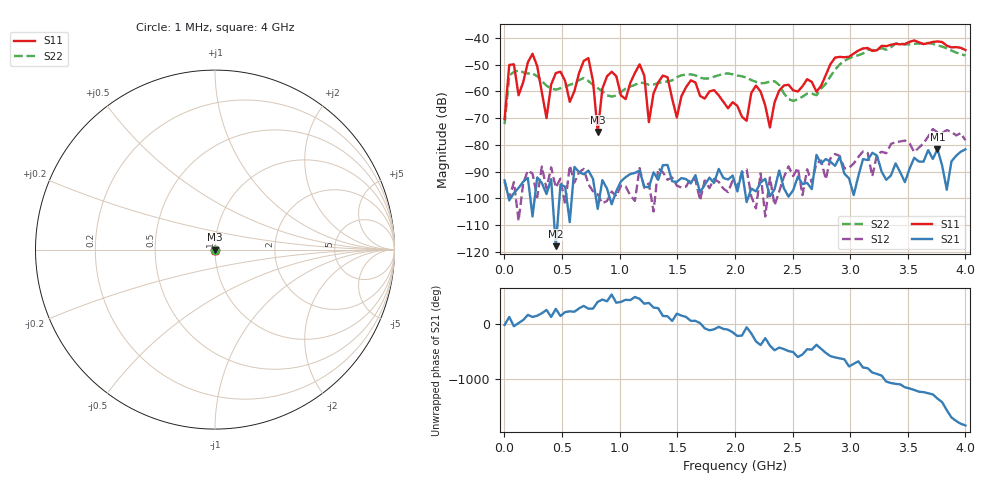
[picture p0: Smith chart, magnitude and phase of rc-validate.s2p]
!Created with skrf (http://scikit-rf.org).
# GHz S DB R 50.0
!freq dBS11 angS11 dBS21 angS21 dBS12 angS12 dBS22 angS22
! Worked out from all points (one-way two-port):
!   100 points, 1 MHz to 4 GHz, reference 50 ohm
!   highest |S21| = -81.60 dB at 3.758 GHz (marker M1); lowest = -117.9 dB at 445.3 MHz (marker M2)
!   lowest |S11| = -75.1 dB at 808.9 MHz (marker M3), VSWR 1.00, Z = 50 - j0.00127 ohm
!   |S11| at or under -10 dB: start of sweep to end of sweep
!   |S22| runs from -72.2 to -41.8 dB; largest |S21 - S12| = 0.0002
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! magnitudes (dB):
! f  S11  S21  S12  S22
! 1 MHz  -70.4  -93.3  -93.8  -72.2
! 41.39 MHz  -50.0  -100.8  -99.8  -54.0
! 122.2 MHz  -61.4  -96.1  -108.4  -52.1
! 243.4 MHz  -45.9  -106.8  -90.8  -53.2
! 364.5 MHz  -70.0  -98.4  -96.3  -57.8
! 445.3 MHz  -53.1  -117.9  -96.0  -59.3
! 566.5 MHz  -63.9  -108.9  -87.7  -57.5
! 687.7 MHz  -48.5  -91.0  -89.0  -55.0
! 808.9 MHz  -75.1  -103.9  -98.4  -58.7
! 930.1 MHz  -52.6  -102.2  -97.4  -61.9
! 1.051 GHz  -62.9  -92.1  -95.5  -58.9
! 1.172 GHz  -49.8  -89.6  -88.7  -56.7
! 1.253 GHz  -71.5  -95.9  -94.4  -57.5
! 1.334 GHz  -56.6  -93.1  -88.7  -56.8
! 1.496 GHz  -69.7  -93.8  -95.3  -54.6
! 2.021 GHz  -65.4  -97.4  -95.8  -54.0
! 2.182 GHz  -57.8  -97.4  -103.8  -56.4
! 2.303 GHz  -73.5  -99.2  -92.2  -56.3
! 2.667 GHz  -56.4  -96.6  -94.1  -60.8
! 3.354 GHz  -42.5  -91.4  -79.7  -43.5
! 3.758 GHz  -41.3  -81.6  -75.3  -42.7
! 4 GHz  -44.5  -81.7  -78.3  -46.5
